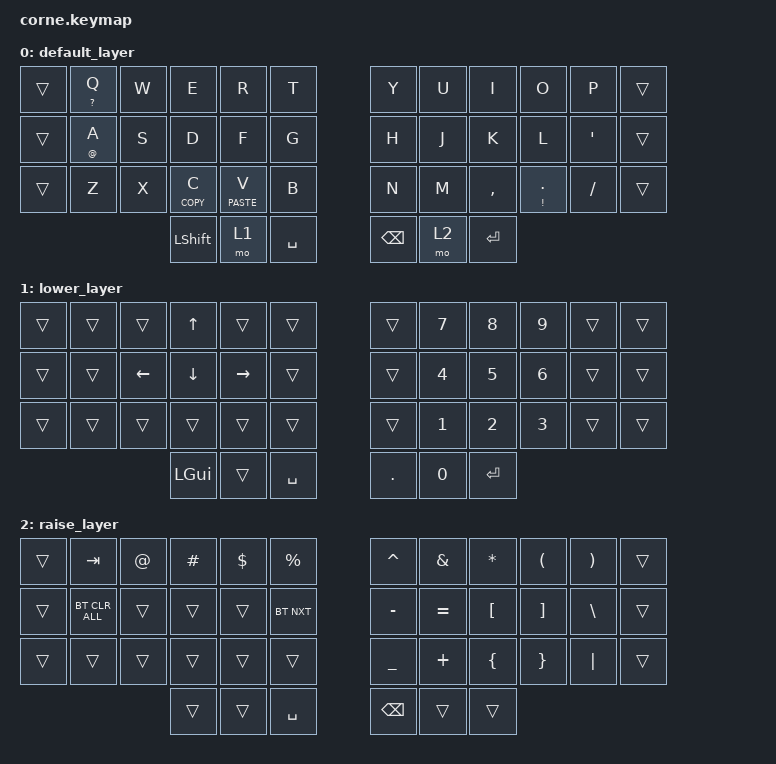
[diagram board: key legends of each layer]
/*
 * Copyright (c) 2020 The ZMK Contributors
 *
 * SPDX-License-Identifier: MIT
 */

#include <behaviors.dtsi>
#include <dt-bindings/zmk/bt.h>
#include <dt-bindings/zmk/keys.h>

/ {
    combos {
        compatible = "zmk,combos";

        CAPSLock {
            bindings = <&kp CAPS>;
            key-positions = <5 6>;
        };

        Escape {
            bindings = <&kp ESC>;
            key-positions = <1 10>;
        };
    };

    behaviors {
        new_behavior: new_behavior {
            compatible = "zmk,behavior-hold-tap";
            label = "NEW_BEHAVIOR";
            bindings = <&kp>, <&kp>;

            #binding-cells = <2>;
            tapping-term-ms = <600>;
            flavor = "tap-preferred";
        };
    };

    keymap {
        compatible = "zmk,keymap";

        default_layer {
            // -----------------------------------------------------------------------------------------
            // |  TAB |  Q  |  W  |  E  |  R  |  T  |   |  Y  |  U   |  I  |  O  |  P  | BSPC |
            // | CTRL |  A  |  S  |  D  |  F  |  G  |   |  H  |  J   |  K  |  L  |  ;  |  '   |
            // | SHFT |  Z  |  X  |  C  |  V  |  B  |   |  N  |  M   |  ,  |  .  |  /  | ESC  |
            //                    | GUI | LWR | SPC |   | ENT | RSE  | ALT |

            bindings = <
&trans  &mt QUESTION Q           &kp W  &kp E         &kp R          &kp T        &kp Y          &kp U  &kp I      &kp O            &kp P     &trans
&trans  &new_behavior AT_SIGN A  &kp S  &kp D         &kp F          &kp G        &kp H          &kp J  &kp K      &kp L            &kp APOS  &trans
&trans  &kp Z                    &kp X  &mt K_COPY C  &mt K_PASTE V  &kp B        &kp N          &kp M  &kp COMMA  &mt EXCL PERIOD  &kp FSLH  &trans
                                        &kp LSHIFT    &mo 1          &kp SPACE    &kp BACKSPACE  &mo 2  &kp ENTER
            >;
        };

        lower_layer {
            // -----------------------------------------------------------------------------------------
            // |  TAB |  1  |  2  |  3  |  4  |  5  |   |  6  |  7  |  8  |  9  |  0  | BSPC |
            // | BTCLR| BT1 | BT2 | BT3 | BT4 | BT5 |   | LFT | DWN |  UP | RGT |     |      |
            // | SHFT |     |     |     |     |     |   |     |     |     |     |     |      |
            //                    | GUI |     | SPC |   | ENT |     | ALT |

            bindings = <
&trans  &trans  &trans    &kp UP    &trans     &trans       &trans      &kp N7        &kp N8        &kp N9        &trans  &trans
&trans  &trans  &kp LEFT  &kp DOWN  &kp RIGHT  &trans       &trans      &kp NUMBER_4  &kp N5        &kp NUMBER_6  &trans  &trans
&trans  &trans  &trans    &trans    &trans     &trans       &trans      &kp N1        &kp NUMBER_2  &kp NUMBER_3  &trans  &trans
                          &kp LGUI  &trans     &kp SPACE    &kp PERIOD  &kp N0        &kp ENTER
            >;
        };

        raise_layer {
            // -----------------------------------------------------------------------------------------
            // |  TAB |  !  |  @  |  #  |  $  |  %  |   |  ^  |  &  |  *  |  (  |  )  | BSPC |
            // | CTRL |     |     |     |     |     |   |  -  |  =  |  [  |  ]  |  \  |  `   |
            // | SHFT |     |     |     |     |     |   |  _  |  +  |  {  |  }  | "|" |  ~   |
            //                    | GUI |     | SPC |   | ENT |     | ALT |

            bindings = <
&trans  &kp TAB         &kp AT  &kp HASH  &kp DLLR  &kp PRCNT     &kp CARET      &kp AMPS   &kp ASTRK  &kp LPAR  &kp RPAR  &trans
&trans  &bt BT_CLR_ALL  &trans  &trans    &trans    &bt BT_NXT    &kp MINUS      &kp EQUAL  &kp LBKT   &kp RBKT  &kp BSLH  &trans
&trans  &trans          &trans  &trans    &trans    &trans        &kp UNDER      &kp PLUS   &kp LBRC   &kp RBRC  &kp PIPE  &trans
                                &trans    &trans    &kp SPACE     &kp BACKSPACE  &trans     &trans
            >;
        };
    };
};
